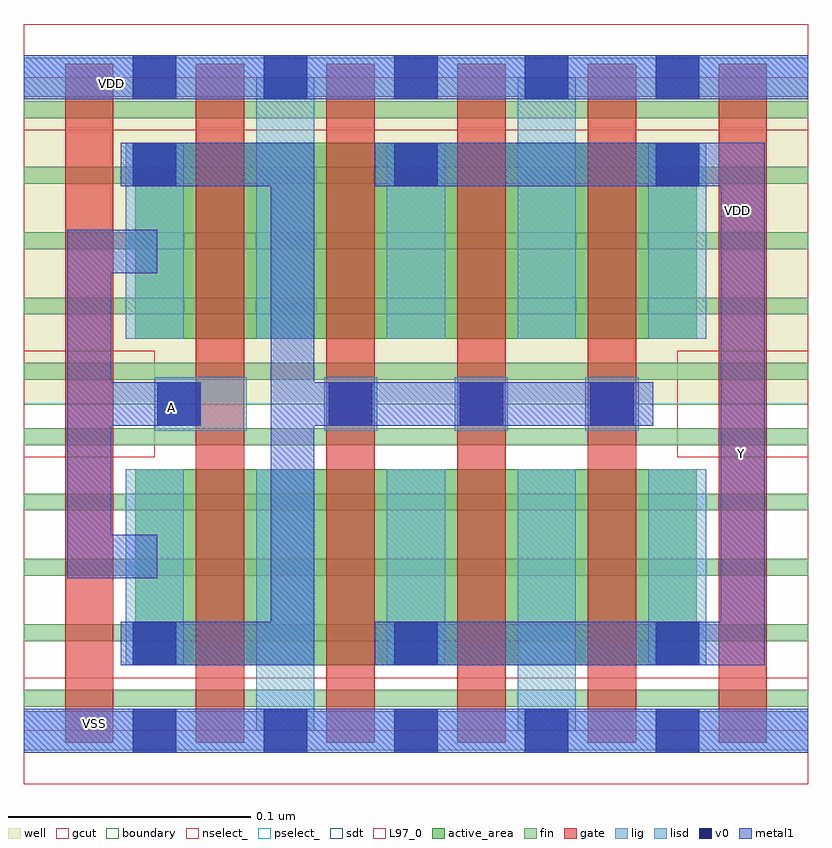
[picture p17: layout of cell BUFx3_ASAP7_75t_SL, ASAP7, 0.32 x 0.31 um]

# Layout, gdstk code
import gdstk
lib = gdstk.Library(unit=1e-6, precision=2.5e-10)
def R(c, l, rs):  # rectangles x0, y0, x1, y1
    for r in rs: c.add(gdstk.rectangle(r[:2], r[2:], *l))
def A(c, l, x, y, w, h, nx, ny, dx, dy):  # array of equal rectangles
    R(c, l, [(x+i*dx, y+j*dy, x+i*dx+w, y+j*dy+h) for i in range(nx) for j in range(ny)])
def P(c, l, *ps):  # polygons
    for p in ps: c.add(gdstk.Polygon(p, *l))
well = (1, 0)
fin = (2, 0)
gate = (7, 0)
gcut = (10, 0)
active_area = (11, 0)
nselect_ = (12, 0)
pselect_ = (13, 0)
lig = (16, 0)
lisd = (17, 0)
v0 = (18, 0)
metal1 = (19, 0)
sdt = (88, 0)
L97_0 = (97, 0)
boundary = (100, 0)

bufx3_asap7_75t_sl = lib.new_cell('BUFx3_ASAP7_75t_SL')
R(bufx3_asap7_75t_sl, well, [(0,0.135,0.324,0.27)])
A(bufx3_asap7_75t_sl, fin, 0, 0.01, 0.324, 0.007, 1, 10, 0, 0.027)
A(bufx3_asap7_75t_sl, gate, 0.017, -0.005, 0.02, 0.2805, 6, 1, 0.054, 0)
R(bufx3_asap7_75t_sl, gcut, [(0,-0.022,0.324,0.022), (0,0.113,0.054,0.157), (0.27,0.113,0.324,0.157), (0,0.248,0.324,0.292)])
R(bufx3_asap7_75t_sl, active_area, [(0.046,0.027,0.278,0.108), (0.046,0.162,0.278,0.243)])
R(bufx3_asap7_75t_sl, nselect_, [(0,0,0.324,0.135)])
R(bufx3_asap7_75t_sl, pselect_, [(0,0.135,0.324,0.27)])
A(bufx3_asap7_75t_sl, lig, 0.124, 0.124, 0.022, 0.022, 3, 1, 0.054, 0)
R(bufx3_asap7_75t_sl, lig, [(0,-0.008,0.324,0.008), (0.054,0.124,0.092,0.146), (0,0.262,0.324,0.278)])
A(bufx3_asap7_75t_sl, lisd, 0.042, 0.027, 0.024, 0.081, 3, 2, 0.108, 0.135)
R(bufx3_asap7_75t_sl, lisd, [(0.096,0,0.12,0.108), (0.204,0,0.228,0.108), (0.096,0.162,0.12,0.27), (0.204,0.162,0.228,0.27)])
A(bufx3_asap7_75t_sl, v0, 0.045, -0.009, 0.018, 0.018, 5, 2, 0.054, 0.27)
A(bufx3_asap7_75t_sl, v0, 0.045, 0.027, 0.018, 0.018, 3, 2, 0.108, 0.198)
A(bufx3_asap7_75t_sl, v0, 0.126, 0.126, 0.018, 0.018, 3, 1, 0.054, 0)
R(bufx3_asap7_75t_sl, v0, [(0.055,0.126,0.073,0.144)])
R(bufx3_asap7_75t_sl, metal1, [(0,-0.009,0.324,0.009), (0,0.261,0.324,0.279)])
P(bufx3_asap7_75t_sl, metal1, [(0.306,0.243),(0.145,0.243),(0.145,0.225),(0.288,0.225),(0.288,0.045),(0.145,0.045),(0.145,0.027),(0.306,0.027)],
  [(0.26,0.144),(0.12,0.144),(0.12,0.243),(0.04,0.243),(0.04,0.225),(0.102,0.225),(0.102,0.045),(0.04,0.045),(0.04,0.027),(0.12,0.027),(0.12,0.126),(0.26,0.126)],
  [(0.073,0.144),(0.036,0.144),(0.036,0.189),(0.055,0.189),(0.055,0.207),(0.018,0.207),(0.018,0.063),(0.055,0.063),(0.055,0.081),(0.036,0.081),(0.036,0.126),(0.073,0.126)])
A(bufx3_asap7_75t_sl, sdt, 0.042, 0.027, 0.024, 0.081, 5, 2, 0.054, 0.135)
R(bufx3_asap7_75t_sl, L97_0, [(0,0,0.324,0.27)])
R(bufx3_asap7_75t_sl, boundary, [(0,0,0.324,0.27)])
bufx3_asap7_75t_sl.add(gdstk.Label('Y', (0.2965,0.1145), layer=19, texttype=251))
bufx3_asap7_75t_sl.add(gdstk.Label('VDD', (0.036,0.2675), layer=19, texttype=251))
bufx3_asap7_75t_sl.add(gdstk.Label('VSS', (0.029,0.003), layer=19, texttype=251))
bufx3_asap7_75t_sl.add(gdstk.Label('A', (0.061,0.1335), layer=19, texttype=251))
bufx3_asap7_75t_sl.add(gdstk.Label('VDD', (0.295,0.215), layer=1, texttype=251))
bufx3_asap7_75t_sl.add(gdstk.Label('VSS', (0.364,0.214), layer=3, texttype=251))

lib.write_gds('BUFx3_ASAP7_75t_SL.gds')
